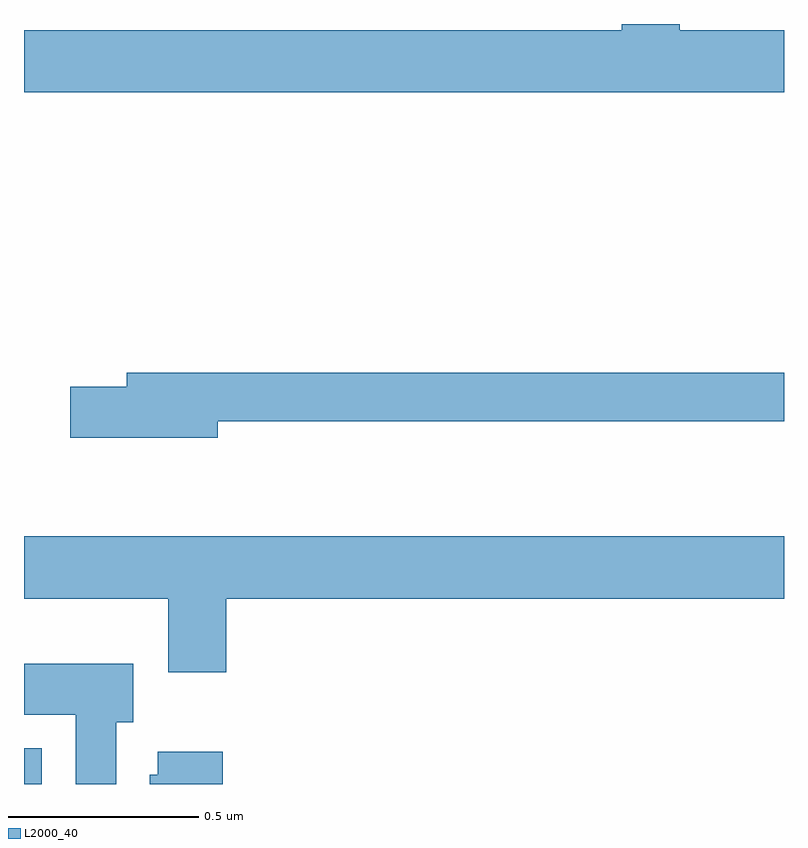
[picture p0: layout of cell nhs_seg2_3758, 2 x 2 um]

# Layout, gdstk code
import gdstk
lib = gdstk.Library(unit=1e-6, precision=1e-09)
def R(c, l, rs):  # rectangles x0, y0, x1, y1
    for r in rs: c.add(gdstk.rectangle(r[:2], r[2:], *l))
def P(c, l, *ps):  # polygons
    for p in ps: c.add(gdstk.Polygon(p, *l))
L2000_40 = (2000, 40)

nhs_seg2_3758 = lib.new_cell('nhs_seg2_3758')
R(nhs_seg2_3758, L2000_40, [(157,661.8,157.047,661.894)])
P(nhs_seg2_3758, L2000_40, [(159,663.784),(158.725,663.784),(158.725,663.8),(158.573,663.8),(158.573,663.784),(157,663.784),(157,663.62),(159,663.62)],
  [(157.51,662.754),(159,662.754),(159,662.882),(157.271,662.882),(157.271,662.846),(157.122,662.846),(157.122,662.711),(157.51,662.711)],
  [(157.532,662.288),(159,662.288),(159,662.452),(157,662.452),(157,662.288),(157.379,662.288),(157.379,662.094),(157.532,662.094)],
  [(157.243,661.962),(157.288,661.962),(157.288,662.116),(157,662.116),(157,661.982),(157.136,661.982),(157.136,661.8),(157.243,661.8)],
  [(157.523,661.885),(157.352,661.885),(157.352,661.824),(157.331,661.824),(157.331,661.8),(157.523,661.8)])

lib.write_gds('nhs_seg2_3758.gds')
